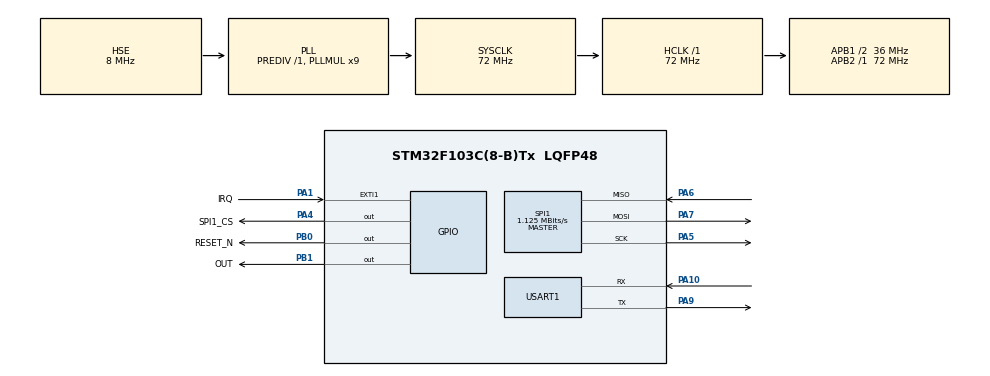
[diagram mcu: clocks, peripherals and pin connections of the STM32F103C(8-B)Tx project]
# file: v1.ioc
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Mcu.Family=STM32F1
Mcu.Name=STM32F103C(8-B)Tx
Mcu.Package=LQFP48
NVIC.EXTI1_IRQn=true\:0\:0\:false\:false\:true\:true
NVIC.PriorityGroup=NVIC_PRIORITYGROUP_4
NVIC.TIM3_IRQn=true\:0\:0\:false\:false\:true\:true
NVIC.USART1_IRQn=true\:0\:0\:false\:false\:true\:true
PA1.GPIO_Label=IRQ
PA1.GPIO_ModeDefaultEXTI=GPIO_MODE_IT_FALLING
PA1.Signal=GPXTI1
PA10.Mode=Asynchronous
PA10.Signal=USART1_RX
PA13.Mode=Serial_Wire
PA13.Signal=SYS_JTMS-SWDIO
PA14.Mode=Serial_Wire
PA14.Signal=SYS_JTCK-SWCLK
PA4.GPIO_Label=SPI1_CS
PA4.GPIO_Speed=GPIO_SPEED_FREQ_MEDIUM
PA4.Signal=GPIO_Output
PA5.Mode=Full_Duplex_Master
PA5.Signal=SPI1_SCK
PA6.Mode=Full_Duplex_Master
PA6.Signal=SPI1_MISO
PA7.Mode=Full_Duplex_Master
PA7.Signal=SPI1_MOSI
PA9.Mode=Asynchronous
PA9.Signal=USART1_TX
PB0.GPIO_Label=RESET_N
PB0.GPIO_Speed=GPIO_SPEED_FREQ_MEDIUM
PB0.PinState=GPIO_PIN_SET
PB0.Signal=GPIO_Output
PB1.GPIO_Label=OUT
PB1.GPIO_Speed=GPIO_SPEED_FREQ_MEDIUM
PB1.Signal=GPIO_Output
PC14-OSC32_IN.Mode=LSE-External-Oscillator
PC14-OSC32_IN.Signal=RCC_OSC32_IN
PC15-OSC32_OUT.Mode=LSE-External-Oscillator
PC15-OSC32_OUT.Signal=RCC_OSC32_OUT
PD0-OSC_IN.Mode=HSE-External-Oscillator
PD0-OSC_IN.Signal=RCC_OSC_IN
PD1-OSC_OUT.Mode=HSE-External-Oscillator
PD1-OSC_OUT.Signal=RCC_OSC_OUT
ProjectManager.HeapSize=0x200
ProjectManager.StackSize=0x400
ProjectManager.TargetToolchain=MDK-ARM V5
RCC.AHBFreq_Value=72000000
RCC.APB1CLKDivider=RCC_HCLK_DIV2
RCC.APB1Freq_Value=36000000
RCC.APB1TimFreq_Value=72000000
RCC.APB2Freq_Value=72000000
RCC.APB2TimFreq_Value=72000000
RCC.HCLKFreq_Value=72000000
RCC.PLLMUL=RCC_PLL_MUL9
RCC.PLLSourceVirtual=RCC_PLLSOURCE_HSE
RCC.SYSCLKFreq_VALUE=72000000
RCC.SYSCLKSource=RCC_SYSCLKSOURCE_PLLCLK
RCC.USBFreq_Value=72000000
SPI1.BaudRatePrescaler=SPI_BAUDRATEPRESCALER_64
SPI1.CLKPhase=SPI_PHASE_2EDGE
SPI1.CLKPolarity=SPI_POLARITY_HIGH
SPI1.CalculateBaudRate=1.125 MBits/s
SPI1.Direction=SPI_DIRECTION_2LINES
SPI1.Mode=SPI_MODE_MASTER
SPI1.VirtualType=VM_MASTER
TIM3.ClockDivision=TIM_CLOCKDIVISION_DIV1
TIM3.Period=49999
TIM3.Prescaler=57599
USART1.VirtualMode=VM_ASYNC
VP_TIM3_VS_ClockSourceINT.Mode=Internal
board=custom

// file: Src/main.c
/**
  ******************************************************************************
  * @file           : main.c
  * @brief          : Main program body
  ******************************************************************************
  ** This notice applies to any and all portions of this file
  * that are not between comment pairs USER CODE BEGIN and
  * USER CODE END. Other portions of this file, whether
  * inserted by the user or by software development tools
  * are owned by their respective copyright owners.
  *
  * COPYRIGHT(c) 2018 STMicroelectronics
  *
  * Redistribution and use in source and binary forms, with or without modification,
  * are permitted provided that the following conditions are met:
  *   1. Redistributions of source code must retain the above copyright notice,
  *      this list of conditions and the following disclaimer.
  *   2. Redistributions in binary form must reproduce the above copyright notice,
  *      this list of conditions and the following disclaimer in the documentation
  *      and/or other materials provided with the distribution.
  *   3. Neither the name of STMicroelectronics nor the names of its contributors
  *      may be used to endorse or promote products derived from this software
  *      without specific prior written permission.
  *
  * THIS SOFTWARE IS PROVIDED BY THE COPYRIGHT HOLDERS AND CONTRIBUTORS "AS IS"
  * AND ANY EXPRESS OR IMPLIED WARRANTIES, INCLUDING, BUT NOT LIMITED TO, THE
  * IMPLIED WARRANTIES OF MERCHANTABILITY AND FITNESS FOR A PARTICULAR PURPOSE ARE
  * DISCLAIMED. IN NO EVENT SHALL THE COPYRIGHT HOLDER OR CONTRIBUTORS BE LIABLE
  * FOR ANY DIRECT, INDIRECT, INCIDENTAL, SPECIAL, EXEMPLARY, OR CONSEQUENTIAL
  * DAMAGES (INCLUDING, BUT NOT LIMITED TO, PROCUREMENT OF SUBSTITUTE GOODS OR
  * SERVICES; LOSS OF USE, DATA, OR PROFITS; OR BUSINESS INTERRUPTION) HOWEVER
  * CAUSED AND ON ANY THEORY OF LIABILITY, WHETHER IN CONTRACT, STRICT LIABILITY,
  * OR TORT (INCLUDING NEGLIGENCE OR OTHERWISE) ARISING IN ANY WAY OUT OF THE USE
  * OF THIS SOFTWARE, EVEN IF ADVISED OF THE POSSIBILITY OF SUCH DAMAGE.
  *
  ******************************************************************************
  */
#include "main.h"
#include "stm32f1xx_hal.h"
#include "spi.h"
#include "tim.h"
#include "usart.h"
#include "gpio.h"

/* USER CODE BEGIN Includes */
#include "ADE7953.h"
/* USER CODE END Includes */

/* USER CODE BEGIN PV */
/* Private variables ---------------------------------------------------------*/
uint8_t irqstata[4];

uint8_t v[4];
uint8_t ia[4];
uint8_t awatt[4];
uint8_t avar[4];
uint8_t ava[4];
uint8_t pfa[2];
uint8_t period[2];

uint8_t aenergya[4];
uint8_t renergya[4];
uint8_t apenergya[4];

uint8_t samplei[280][3];

uint8_t cmd1=0x01;
uint8_t cmd2=0x02;
uint8_t cmd3=0x03;
uint8_t end1=0xfe;

uint16_t cnt1;
uint8_t rdata[1];
/* USER CODE END PV */

void SystemClock_Config(void);

/* USER CODE BEGIN PFP */
/* Private function prototypes -----------------------------------------------*/

/* USER CODE END PFP */

int main(void)
{

  /* MCU Configuration----------------------------------------------------------*/

  /* Reset of all peripherals, Initializes the Flash interface and the Systick. */
  HAL_Init();

  /* Configure the system clock */
  SystemClock_Config();

  /* Initialize all configured peripherals */
  MX_GPIO_Init();
  MX_SPI1_Init();
  MX_USART1_UART_Init();
  MX_TIM3_Init();
  /* USER CODE BEGIN 2 */
	ADE7953CommuCfg();	//Pull Down SPI_CS
	HAL_Delay(1);
	ADE7953Reset();			//RESET ADE7953
	HAL_Delay(100);			//Delay to RESET complete
	ADE7953SPILock();		//SPILOCK

	//For optimum performance, Register Address 0x120 must be configured by the user after powering up the ADE7953.
	//SPIWrite1Byte(0x0FE,0xAD);
	//SPIWrite2Bytes(0x0120,0x0030);

	ADE7953Cfg();

	//__HAL_TIM_CLEAR_IT(&htim3, TIM_IT_UPDATE);
	HAL_TIM_Base_Start_IT(&htim3);

	HAL_UART_Receive_IT(&huart1, (uint8_t *)rdata, 1);
  /* USER CODE END 2 */

  /* Infinite loop */
  while (1)
  {

  }

}

void SystemClock_Config(void)
{

  RCC_OscInitTypeDef RCC_OscInitStruct;
  RCC_ClkInitTypeDef RCC_ClkInitStruct;

    /**Initializes the CPU, AHB and APB busses clocks
    */
  RCC_OscInitStruct.OscillatorType = RCC_OSCILLATORTYPE_HSE;
  RCC_OscInitStruct.HSEState = RCC_HSE_ON;
  RCC_OscInitStruct.HSEPredivValue = RCC_HSE_PREDIV_DIV1;
  RCC_OscInitStruct.HSIState = RCC_HSI_ON;
  RCC_OscInitStruct.PLL.PLLState = RCC_PLL_ON;
  RCC_OscInitStruct.PLL.PLLSource = RCC_PLLSOURCE_HSE;
  RCC_OscInitStruct.PLL.PLLMUL = RCC_PLL_MUL9;
  if (HAL_RCC_OscConfig(&RCC_OscInitStruct) != HAL_OK)
  {
    _Error_Handler(__FILE__, __LINE__);
  }

    /**Initializes the CPU, AHB and APB busses clocks
    */
  RCC_ClkInitStruct.ClockType = RCC_CLOCKTYPE_HCLK|RCC_CLOCKTYPE_SYSCLK
                              |RCC_CLOCKTYPE_PCLK1|RCC_CLOCKTYPE_PCLK2;
  RCC_ClkInitStruct.SYSCLKSource = RCC_SYSCLKSOURCE_PLLCLK;
  RCC_ClkInitStruct.AHBCLKDivider = RCC_SYSCLK_DIV1;
  RCC_ClkInitStruct.APB1CLKDivider = RCC_HCLK_DIV2;
  RCC_ClkInitStruct.APB2CLKDivider = RCC_HCLK_DIV1;

  if (HAL_RCC_ClockConfig(&RCC_ClkInitStruct, FLASH_LATENCY_2) != HAL_OK)
  {
    _Error_Handler(__FILE__, __LINE__);
  }

    /**Configure the Systick interrupt time
    */
  HAL_SYSTICK_Config(HAL_RCC_GetHCLKFreq()/1000);

    /**Configure the Systick
    */
  HAL_SYSTICK_CLKSourceConfig(SYSTICK_CLKSOURCE_HCLK);

  /* SysTick_IRQn interrupt configuration */
  HAL_NVIC_SetPriority(SysTick_IRQn, 0, 0);
}

/* USER CODE BEGIN 4 */
void send1()
{
	BSP_ADE7953_Read(v, VA, 4);
	BSP_ADE7953_Read(ia, IA, 4);
	BSP_ADE7953_Read(awatt, AWATT, 4);
	BSP_ADE7953_Read(avar, AVAR, 4);
	BSP_ADE7953_Read(ava, AVA, 4);
	BSP_ADE7953_Read(pfa, PFA, 2);
	BSP_ADE7953_Read(period, PERIOD, 2);

	HAL_UART_Transmit(&huart1, &cmd1, 1, 0xFFFF);
	HAL_UART_Transmit(&huart1, v, 4, 0xFFFF);
	HAL_UART_Transmit(&huart1, ia, 4, 0xFFFF);
	HAL_UART_Transmit(&huart1, awatt, 4, 0xFFFF);
	HAL_UART_Transmit(&huart1, avar, 4, 0xFFFF);
	HAL_UART_Transmit(&huart1, ava, 4, 0xFFFF);
	HAL_UART_Transmit(&huart1, pfa, 2, 0xFFFF);
	HAL_UART_Transmit(&huart1, period, 2, 0xFFFF);
	HAL_UART_Transmit(&huart1, &end1, 1, 0xFFFF);
}

void send2()
{
	BSP_ADE7953_Read(aenergya, AENERGYA, 4);
	BSP_ADE7953_Read(renergya, RENERGYA, 4);
	BSP_ADE7953_Read(apenergya, APENERGYA, 4);

	HAL_UART_Transmit(&huart1, &cmd2, 1, 0xFFFF);
	HAL_UART_Transmit(&huart1, aenergya, 4, 0xFFFF);
	HAL_UART_Transmit(&huart1, renergya, 4, 0xFFFF);
	HAL_UART_Transmit(&huart1, apenergya, 4, 0xFFFF);
	HAL_UART_Transmit(&huart1, &end1, 1, 0xFFFF);
}

void send3()
{
	HAL_UART_Transmit(&huart1, &cmd3, 1, 0xFFFF);
	for(uint16_t i=0; i<280; i++)
	{
		HAL_UART_Transmit(&huart1, samplei[i], 3, 0xFFFF);
	}
	HAL_UART_Transmit(&huart1, &end1, 1, 0xFFFF);
}

/**
  * @brief  Period elapsed callback in non blocking mode
  * @param  htim: TIM handle
  * @retval None
  */
void HAL_TIM_PeriodElapsedCallback(TIM_HandleTypeDef *htim)
{
    if (htim->Instance == htim3.Instance)
    {
			send1();
    }
}

/**
  * @brief EXTI line detection callbacks
  * @param GPIO_Pin: Specifies the pins connected EXTI line
  * @retval None
  */

/**
  * @brief Rx Transfer completed callbacks
  * @param huart: uart handle
  * @retval None
  */
void HAL_UART_RxCpltCallback(UART_HandleTypeDef *huart)
{
  /* Prevent unused argument(s) compilation warning */
  UNUSED(huart);

  /* NOTE : This function should not be modified, when the callback is needed,
            the HAL_UART_RxCpltCallback can be implemented in the user file
   */
  if (rdata[0]==0x01)
	{
		SPIWrite4Bytes(IRQENA,0x160038);	//WSMP
		cnt1=0;
	}
}

void HAL_GPIO_EXTI_Callback(uint16_t GPIO_Pin)
{
  if(GPIO_Pin == GPIO_PIN_1)
  {
		if (BSP_ADE7953_Read(irqstata, RSTIRQSTATA, 4) != ADE7953_OK)
		{
			_Error_Handler(__FILE__, __LINE__);
		}
		if((irqstata[2]&0x10)==0x10)
		{
			printf("ADE7953 OK\n");
		}	//clear reset interrupt
		else if((irqstata[2]&0x02)==0x02)
		{
			if (cnt1<280)
			{
				BSP_ADE7953_Read(samplei[cnt1], 0x216, 3);
				cnt1++;
			}
			else
			{
				SPIWrite4Bytes(IRQENA,0x140038);	//Reset WSMP
				cnt1=0;
				send3();
			}
		}	//clear sample interrupt
		else if((irqstata[2]&0x04)==0x04)
		{
			send2();
		} //clear cycend interrupt
		else if((irqstata[0]&0x08)==0x08 || (irqstata[0]&0x10)==0x10 || (irqstata[0]&0x20)==0x20)
		{
			send2();
		}	//clear EOF interrupt
  }
}
/* USER CODE END 4 */

void _Error_Handler(char *file, int line)
{
  /* USER CODE BEGIN Error_Handler_Debug */
  /* User can add his own implementation to report the HAL error return state */
  while(1)
  {
		printf("\n\r Something Wrong!!!\n\r");
		return;
  }
  /* USER CODE END Error_Handler_Debug */
}

/************************ (C) COPYRIGHT STMicroelectronics *****END OF FILE****/
